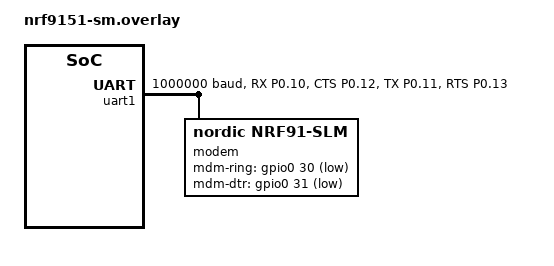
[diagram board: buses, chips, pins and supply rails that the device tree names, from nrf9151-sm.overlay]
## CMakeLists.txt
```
#
# Copyright (c) 2026 Nordic Semiconductor ASA
#
# SPDX-License-Identifier: LicenseRef-Nordic-5-Clause
#

cmake_minimum_required(VERSION 3.20.0)

find_package(Zephyr REQUIRED HINTS $ENV{ZEPHYR_BASE})
project(dect_shell_fullstack)

target_include_directories(app PRIVATE
  src
  src/at
  src/auto_connect
  src/cloud
  src/hostname
  src/native_tls
  src/ping
  src/print
  src/utils
)

target_sources(app PRIVATE
  src/main.c
  src/shell.c
  src/print/print_shell.c
  src/utils/desh_print.c
)

target_sources_ifdef(CONFIG_SAMPLE_DESH_AUTO_CONNECT app PRIVATE
  src/auto_connect/auto_connect.c
  src/auto_connect/auto_connect_shell.c
)
target_sources_ifdef(CONFIG_AT_CMD_CUSTOM app PRIVATE src/at/at_cmd_mode_custom.c)
target_sources_ifdef(CONFIG_SAMPLE_DESH_CLOUD_MQTT app PRIVATE src/cloud/cloud_mqtt_shell.c)
target_sources_ifdef(CONFIG_SAMPLE_DESH_CLOUD_COAP app PRIVATE src/cloud/cloud_coap_shell.c)
target_sources_ifdef(CONFIG_NET_HOSTNAME_DYNAMIC app PRIVATE src/hostname/hostname_shell.c)
target_sources_ifdef(CONFIG_SAMPLE_DESH_NATIVE_TLS app PRIVATE src/native_tls/desh_at_cmng.c)
target_sources_ifdef(CONFIG_SAMPLE_DESH_NATIVE_TLS app PRIVATE src/native_tls/desh_native_tls.c)
target_sources_ifdef(CONFIG_SAMPLE_DESH_DECT_ICMP_PING app PRIVATE src/ping/icmp_ping.c)
target_sources_ifdef(CONFIG_SAMPLE_DESH_DECT_ICMP_PING app PRIVATE src/ping/icmp_ping_shell.c)
target_sources_ifdef(CONFIG_SAMPLE_DESH_MDNS_DNS_SD_ADVERTISE app PRIVATE src/mdns/dns_sd_advertise.c)
target_sources_ifdef(CONFIG_SAMPLE_DESH_MDNS_DISCOVER app PRIVATE src/mdns/dect_discover_shell.c)
```

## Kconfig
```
#
# Copyright (c) 2026 Nordic Semiconductor ASA
#
# SPDX-License-Identifier: LicenseRef-Nordic-5-Clause
#

menu "DECT NR+ Shell config"

config SAMPLE_DESH_PRINT_BUFFER_SIZE
	int "Buffer size used when printing shell output"
	default 1024
	help
	  If the printed string exceeds this buffer, an error message is printed
	  first, and then the requested string is cut into the length of this buffer.

config SAMPLE_DESH_COMMON_WORKQ_STACK_SIZE
	int "Common workqueue stack size"
	default 3072

config SAMPLE_DESH_DECT_ICMP_PING
	bool "ICMP ping support"
	default y
	select DECT_ICMP_PING_LIB
	help
	  ICMPv6 ping through the DECT ICMP ping library (net_icmp). DeSh wires
	  timestamped print functions and the kill signal for abort.

config SAMPLE_DESH_IPERF3
	bool "iPerf3"
	select NRF_IPERF3

config SAMPLE_DESH_CLOUD_MQTT
	bool "MQTT connection to nRF Cloud"
	depends on NRF_CLOUD_MQTT
	help
	  MQTT connection to nRF Cloud.

config SAMPLE_DESH_CLOUD_COAP
	bool "CoAP connection to nRF Cloud"
	depends on NRF_CLOUD_COAP
	help
	  CoAP connection to nRF Cloud.

config SAMPLE_DESH_MDNS_DNS_SD_ADVERTISE
	bool "Advertise _dect-nr._udp using DNS-SD on dect0"
	depends on MDNS_RESPONDER_DNS_SD
	depends on NET_MGMT && NET_MGMT_EVENT
	help
	  Register a DNS-SD service record for _dect-nr._udp so that peers
	  browsing through mDNS see this device. Zephyr's mdns_responder answers
	  PTR/SRV/TXT/AAAA queries using the record; this sample does not run
	  an application-level service on the advertised SRV port, and the
	  TXT record carries "status=not-implemented" to signal that.

if SAMPLE_DESH_MDNS_DNS_SD_ADVERTISE

config SAMPLE_DESH_MDNS_DNS_SD_PORT
	int "DNS-SD service port on dect0"
	default 4700
	range 1 65535
	help
	  UDP port placed in the SRV record advertised for _dect-nr._udp.
	  Reserved for a future application service (info/telemetry/CoAP/...);
	  the sample binds a placeholder UDP socket on this port so DNS-SD SRV
	  records are advertised, but no application-level service is implemented.

endif # SAMPLE_DESH_MDNS_DNS_SD_ADVERTISE

config SAMPLE_DESH_MDNS_DISCOVER
	bool "dect discover shell command"
	depends on MDNS_RESOLVER
	help
	  Discover nearby DECT NR+ devices through mDNS: browses _dect-nr._udp
	  (PTR) to find peer instances and resolves their .local hostnames
	  (AAAA) to list IPv6 addresses.

config SAMPLE_DESH_L2_SHELL
	bool "DECT NR+ Shell for nRF91 Modem MAC"
	default y
	select DECT_L2_SHELL_LIB
	help
	  Enable support for DECT NR+ Net Management interface.
	  This selects the DECT MAC L2 shell library.

menuconfig SAMPLE_DESH_AUTO_CONNECT
	bool "Auto-connect command"
	default y
	help
	  Build the "auto_connect" shell command and its event-driven worker
	  that joins (PT) or creates (FT) the DECT NR+ network automatically
	  once the configured trigger conditions are met. The runtime state is
	  persisted through the Zephyr settings subsystem. Auto-connect is
	  disabled at runtime by default; enable it using the shell or
	  SAMPLE_DESH_AUTO_CONNECT_DEFAULT_ENABLED.

	  Disable to drop both auto_connect.c and auto_connect_shell.c from the
	  build when the sample only needs manual network bring-up.

if SAMPLE_DESH_AUTO_CONNECT

config SAMPLE_DESH_AUTO_CONNECT_DEFAULT_ENABLED
	bool "Enable auto-connect by default"
	help
	  Initial value of the auto-connect setting at first boot, used until
	  the user overrides it using the "auto_connect enable|disable" shell
	  commands. The override is persisted through the Zephyr settings
	  subsystem and wins over this default on subsequent boots.

	  When enabled, the sample joins (PT) or creates (FT) the DECT NR+
	  network automatically once the trigger conditions are met
	  (see SAMPLE_DESH_AUTO_CONNECT_DEFAULT_DELAY_SECS).

config SAMPLE_DESH_AUTO_CONNECT_DEFAULT_DELAY_SECS
	int "Auto-connect delay (seconds)"
	default 0
	range 0 86400
	help
	  Initial auto-connect delay used at first boot, until the user
	  overrides it using "auto_connect delay <seconds>". The override is
	  persisted through the Zephyr settings subsystem and wins over this
	  default on subsequent boots.

	  0 selects the default trigger: when CONFIG_NET_CONNECTION_MANAGER is
	  enabled, auto_connect waits for both NET_EVENT_DECT_ACTIVATE_DONE and
	  NET_EVENT_L4_CONNECTED before firing; otherwise it fires as soon as
	  NET_EVENT_DECT_ACTIVATE_DONE arrives.

	  A non-zero value overrides the default trigger and schedules the
	  auto-connect work that many seconds after NET_EVENT_DECT_ACTIVATE_DONE,
	  independent of L4 connectivity.

endif # SAMPLE_DESH_AUTO_CONNECT

rsource "Kconfig.native_tls"

endmenu # Nordic DECT NR+ Shell config

menu "Zephyr Kernel"
source "Kconfig.zephyr"
endmenu
```

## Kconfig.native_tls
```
#
# Copyright (c) 2026 Nordic Semiconductor ASA
#
# SPDX-License-Identifier: LicenseRef-Nordic-5-Clause

config SAMPLE_DESH_NATIVE_TLS
	bool "Custom ``AT%CMNG`` command to store credentials for native TLS"
	select AT_CMD_CUSTOM
	help
	  Enable the custom ``AT%CMNG`` command to store TLS credentials for native TLS usage.
	  When enabled, you can use the ``AT%CMNG`` command to store TLS credentials
	  (CA certificate, client certificate, private key) in the secure storage or
	  in settings with MQTT/TLS, from where native TLS (Mbed TLS) can load them when
	  establishing a TLS connection.

if SAMPLE_DESH_NATIVE_TLS

config SAMPLE_DESH_NATIVE_TLS_CREDENTIAL_BUFFER_SIZE
	int "Buffer space reserved for loading credentials"
	default 4096
	help
	  Buffer space available for a single ``sec_tag`` when loading credentials for Mbed TLS.

config SAMPLE_DESH_NATIVE_TLS_CREDENTIAL_BUFFER_COUNT
	int "Number of buffers for loading credentials"
	default 1
	range 1 2
	help
	  Number of buffers available for loading ``sec_tag`` credentials for Mbed TLS.
	  The TLS client needs the buffer only when connecting, whereas the TLS server needs
	  the buffer as long as it is running.
	  Increase the value if you need TLS client and server running simultaneously
	  with different ``sec_tags``.

endif
```

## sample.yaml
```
sample:
  name: DECT NR+ Shell Sample
common:
  tags:
    - ci_build
    - sysbuild
    - ci_samples_dect
  sysbuild: true
  build_only: true
  integration_platforms:
    - nrf9151dk/nrf9151/ns
  platform_allow:
    - nrf9151dk/nrf9151/ns
tests:
  sample.dect.dect_shell: {}
  sample.dect.dect_shell.mdns_discover:
    extra_args: EXTRA_CONF_FILE=mdns-common.conf;mdns-discover.conf
  sample.dect.dect_shell.ft_sink:
    extra_args: FILE_SUFFIX=sm
  sample.dect.dect_shell.iperf3_tx:
    extra_args:
      - EXTRA_CONF_FILE="iperf3-common.conf;iperf3-tx.conf"
      - EXTRA_DTC_OVERLAY_FILE="iperf3-tx.overlay"
  sample.dect.dect_shell.iperf3_rx:
    extra_args:
      - EXTRA_CONF_FILE="iperf3-common.conf;iperf3-rx.conf"
      - EXTRA_DTC_OVERLAY_FILE="iperf3-rx.overlay"
  sample.dect.dect_shell.nrf_cloud_mqtt:
    extra_args: EXTRA_CONF_FILE="nrf_cloud_mqtt.conf"
  sample.dect.dect_shell.nrf_cloud_coap:
    extra_args:
      - EXTRA_CONF_FILE="nrf_cloud_coap.conf"
      - DTC_OVERLAY_FILE="nrf_cloud_coap.overlay"
  sample.dect.dect_shell.arceli_eth_w5500:
    extra_args:
      - SHIELD=arceli_eth_w5500
      - EXTRA_CONF_FILE="eth_common.conf;eth_w5500.conf"
      - EXTRA_DTC_OVERLAY_FILE="eth-rx.overlay;w5500-static-mac.overlay"
  sample.dect.dect_shell.arceli_eth_w5500_random_mac:
    extra_args:
      - SHIELD=arceli_eth_w5500
      - EXTRA_CONF_FILE="eth_common.conf;eth_w5500.conf"
      - EXTRA_DTC_OVERLAY_FILE="eth-rx.overlay;w5500.overlay"
  sample.dect.dect_shell.seeed_eth_w5500:
    extra_args:
      - SHIELD=seeed_w5500
      - EXTRA_CONF_FILE="eth_common.conf;eth_w5500.conf;eth_w5500_seeed.conf"
      - EXTRA_DTC_OVERLAY_FILE="eth-rx.overlay;w5500-seeed-static-mac.overlay"
  sample.dect.dect_shell.seeed_eth_w5500_random_mac:
    extra_args:
      - SHIELD=seeed_w5500
      - EXTRA_CONF_FILE="eth_common.conf;eth_w5500.conf;eth_w5500_seeed.conf"
      - EXTRA_DTC_OVERLAY_FILE="eth-rx.overlay;w5500-seeed.overlay"
  sample.dect.dect_shell.arceli_eth_w5500_mdns:
    extra_args:
      - SHIELD=arceli_eth_w5500
      - EXTRA_CONF_FILE="eth_common.conf;eth_w5500.conf;mdns-common.conf;mdns-discover.conf;eth_sink_mdns-discover.conf"
      - EXTRA_DTC_OVERLAY_FILE="eth-rx.overlay;w5500-static-mac.overlay"
  sample.dect.dect_shell.seeed_eth_w5500_mdns:
    extra_args:
      - SHIELD=seeed_w5500
      - EXTRA_CONF_FILE="eth_common.conf;eth_w5500.conf;eth_w5500_seeed.conf;mdns-common.conf;mdns-discover.conf"
      - EXTRA_DTC_OVERLAY_FILE="eth-rx.overlay;w5500-seeed-static-mac.overlay"
  sample.dect.dect_shell.arceli_eth_w5500_dect_rx_pool:
    extra_args:
      - SHIELD=arceli_eth_w5500
      - EXTRA_CONF_FILE="eth_common.conf;eth_w5500.conf;dect_rx_pool.conf;dlc_resilient.conf"
      - EXTRA_DTC_OVERLAY_FILE="eth-rx.overlay;w5500-static-mac.overlay"
  sample.dect.dect_shell.seeed_eth_w5500_dect_rx_pool:
    extra_args:
      - SHIELD=seeed_w5500
      - EXTRA_CONF_FILE="eth_common.conf;eth_w5500.conf;eth_w5500_seeed.conf;dect_rx_pool.conf;dlc_resilient.conf"
      - EXTRA_DTC_OVERLAY_FILE="eth-rx.overlay;w5500-seeed-static-mac.overlay"
```

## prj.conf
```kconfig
# DECT NR+ core
CONFIG_DECT=y

# Modem library
CONFIG_NRF_MODEM_LIB=y
CONFIG_NRF_MODEM_LINK_BINARY_DECT=y
CONFIG_NRF_MODEM_LIB_ON_FAULT_APPLICATION_SPECIFIC=y
CONFIG_NRF_MODEM_LIB_CFUN_HOOKS=n
CONFIG_NRF_MODEM_LIB_TRACE=n

# DECT NR+ driver configuration
CONFIG_DECT_MDM=y
CONFIG_DECT_MDM_DRIVER_NRF=y
CONFIG_DECT_CLUSTER_MAX_CHILD_ASSOCIATION_COUNT=50

# Connection manager auto connect not supported, desh has its own and
# we want net_if_up() done in stack to get cluster_start/nw_create also working
CONFIG_DECT_MDM_NET_IF_NO_AUTO_START=n

# Modem configuration
CONFIG_MODEM_ANTENNA=n
CONFIG_MODEM_ANTENNA_AT_COEX0=""
CONFIG_MODEM_INFO=y
CONFIG_MODEM_INFO_ADD_NETWORK=n
CONFIG_MODEM_INFO_ADD_SIM=n

# Networking core
CONFIG_NETWORKING=y
CONFIG_NET_NATIVE=y
CONFIG_NET_STATISTICS=y
CONFIG_NET_INTERFACE_NAME=y


# Network management
CONFIG_NET_MGMT=y
CONFIG_NET_MGMT_EVENT=y
CONFIG_NET_MGMT_EVENT_INFO=y
CONFIG_NET_MGMT_EVENT_INFO_DEFAULT_DATA_SIZE=208
CONFIG_NET_MGMT_EVENT_STACK_SIZE=2048
CONFIG_NET_MGMT_EVENT_QUEUE_SIZE=20
CONFIG_NET_MGMT_EVENT_QUEUE_TIMEOUT=5000
CONFIG_NET_MGMT_EVENT_LOG_LEVEL_INF=y

# DECT NR+ L2 and connection manager
CONFIG_NET_L2_DECT_MGMT=y
CONFIG_NET_L2_DUMMY=n
CONFIG_NET_CONNECTION_MANAGER=y

# Network sockets
CONFIG_NET_SOCKETS=y
CONFIG_NET_SOCKETS_PACKET=y
CONFIG_NET_SOCKETS_PACKET_DGRAM=y
CONFIG_NET_SOCKETS_OFFLOAD=n
CONFIG_ZVFS_POLL_MAX=10
CONFIG_NET_MAX_CONN=10
CONFIG_NET_CONTEXT_SNDTIMEO=y
CONFIG_NET_CONTEXT_RCVTIMEO=y
CONFIG_NET_TX_STACK_SIZE=2048
CONFIG_NET_RX_STACK_SIZE=2048
CONFIG_NET_SOCKETS_SERVICE_STACK_SIZE=4096

# Network buffers
CONFIG_NET_BUF=y
CONFIG_NET_BUF_DATA_SIZE=128
CONFIG_NET_BUF_POOL_USAGE=y
CONFIG_NET_PKT_RX_COUNT=15
CONFIG_NET_BUF_RX_COUNT=30
CONFIG_NET_PKT_TX_COUNT=15
CONFIG_NET_BUF_TX_COUNT=30
CONFIG_NET_TC_RX_COUNT=0

# IPv6 configuration
CONFIG_NET_IPV4=n
CONFIG_NET_IPV6=y
CONFIG_NET_IP_ADDR_CHECK=n
CONFIG_NET_IPV6_NBR_CACHE=y
CONFIG_NET_IPV6_ND=y
CONFIG_NET_IPV6_MAX_NEIGHBORS=50

# ULA / DECT addressing: default is 2; need room for e.g. link-local + ULA + global per iface.
CONFIG_NET_IF_UNICAST_IPV6_ADDR_COUNT=3

# DNS configuration
CONFIG_DNS_RESOLVER=y
CONFIG_DNS_RESOLVER_AUTO_INIT=y
CONFIG_DNS_RESOLVER_CACHE=y
CONFIG_DNS_SERVER_IP_ADDRESSES=y
CONFIG_DNS_RESOLVER_MAX_SERVERS=2
CONFIG_DNS_SERVER1="2001:4860:4860::8888"
CONFIG_NET_SOCKETS_DNS_TIMEOUT=8000
CONFIG_DNS_SERVER2="2001:4860:4860::8844"
CONFIG_NET_SOCKETS_DNS_TIMEOUT=13000
CONFIG_NET_SOCKETS_DNS_BACKOFF_INTERVAL=4000

# mDNS stack (optional): merge mdns-common.conf; see mdns-discover.conf for discover.

# Hostname configuration
CONFIG_NET_HOSTNAME_ENABLE=y
CONFIG_NET_HOSTNAME="dect-nr+-device"
CONFIG_NET_HOSTNAME_DYNAMIC=y
CONFIG_NET_HOSTNAME_UNIQUE=n

# Disable TLS by default (can be enabled via overlays if needed)
CONFIG_MBEDTLS=n
CONFIG_NET_SOCKETS_SOCKOPT_TLS=n

# Shell configuration
CONFIG_SHELL=y
CONFIG_SHELL_WILDCARD=n
CONFIG_SHELL_PROMPT_UART="desh:~$ "
CONFIG_SHELL_ARGC_MAX=40
CONFIG_SHELL_HELP_OPT_PARSE=n
CONFIG_SHELL_CMD_BUFF_SIZE=4096
CONFIG_SHELL_STACK_SIZE=9216
CONFIG_SHELL_BACKEND_SERIAL_RX_RING_BUFFER_SIZE=512
CONFIG_SHELL_BACKEND_SERIAL_API_INTERRUPT_DRIVEN=y

CONFIG_NET_SHELL=y
CONFIG_NET_STATISTICS_USER_API=y

CONFIG_FPU=y

# Enable use of vsnprintfcb() for extending desh_print() format
CONFIG_CBPRINTF_LIBC_SUBSTS=y

# freebsd-getopt
CONFIG_GETOPT_LONG=y

# DK library
CONFIG_DK_LIBRARY=y

# AT commands
CONFIG_AT_MONITOR=y
CONFIG_AT_PARSER=y
CONFIG_AT_MONITOR_HEAP_SIZE=512

# AT shell
CONFIG_AT_SHELL=y
CONFIG_AT_SHELL_CMD_RESPONSE_MAX_LEN=2701
CONFIG_AT_SHELL_CMD_MODE=y

# Needed by DESH custom AT commands
CONFIG_AT_CMD_CUSTOM=y
CONFIG_AT_CMD_CUSTOM_LOG_LEVEL_OFF=y

# Settings storage
CONFIG_FLASH=y
CONFIG_FLASH_MAP=y
CONFIG_MPU_ALLOW_FLASH_WRITE=y
CONFIG_NVS=y
CONFIG_SETTINGS=y
CONFIG_SETTINGS_NVS=y
CONFIG_NVS_LOG_LEVEL_WRN=y

# Kernel and system settings
CONFIG_MAIN_STACK_SIZE=4096
CONFIG_SYSTEM_WORKQUEUE_STACK_SIZE=3072
CONFIG_ISR_STACK_SIZE=1024
CONFIG_HEAP_MEM_POOL_SIZE=25600
CONFIG_ENTROPY_GENERATOR=y

# TF-M configuration
CONFIG_TFM_PROFILE_TYPE_MINIMAL=y
CONFIG_TFM_SECURE_UART0=y
CONFIG_TFM_LOG_LEVEL_SILENCE=y
CONFIG_TFM_EXCEPTION_INFO_DUMP=y
CONFIG_TFM_SPM_LOG_LEVEL_DEBUG=y

# Logging
CONFIG_LOG=y
CONFIG_SHELL_LOG_BACKEND=y
CONFIG_LOG_BACKEND_UART=n
CONFIG_PRINTK=y
CONFIG_LOG_PRINTK=n
CONFIG_NET_LOG=y

# DECT module log levels
CONFIG_DECT_MDM_LOG_LEVEL_WRN=y
CONFIG_NET_L2_DECT_LOG_LEVEL_WRN=y
CONFIG_NET_L2_DECT_MGMT_LOG_LEVEL_WRN=y
CONFIG_NET_L2_DECT_BR_LOG_LEVEL_INF=y
CONFIG_NET_L2_DECT_CONN_MGR_LOG_LEVEL_INF=y

# Debugging
CONFIG_ASSERT=y
CONFIG_ASSERT_MODULE_DEFAULT_LEVEL_VERBOSE=y
CONFIG_RESET_ON_FATAL_ERROR=n
CONFIG_EXTRA_EXCEPTION_INFO=y
CONFIG_SYS_HEAP_RUNTIME_STATS=y
```

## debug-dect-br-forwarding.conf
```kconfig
# Copyright (c) 2026 Nordic Semiconductor ASA
#
# SPDX-License-Identifier: LicenseRef-Nordic-5-Clause
#
CONFIG_LOG_MODE_IMMEDIATE=y
CONFIG_LOG_BUFFER_SIZE=16384

CONFIG_NET_L2_DECT_LOG_LEVEL_INF=y
CONFIG_NET_L2_DECT_BR_LOG_LEVEL_INF=y
CONFIG_NET_L2_DECT_CONN_MGR_LOG_LEVEL_INF=y
CONFIG_NET_L2_DECT_MGMT_LOG_LEVEL_INF=y

CONFIG_NET_CORE_LOG_LEVEL_INF=y
CONFIG_NET_IF_LOG_LEVEL_INF=y
CONFIG_NET_IPV6_ROUTE_LOG_LEVEL_DBG=y
CONFIG_NET_IPV6_LOG_LEVEL_INF=y
CONFIG_NET_IPV6_ND_LOG_LEVEL_DBG=y
CONFIG_NET_IPV6_NBR_CACHE_LOG_LEVEL_INF=y
CONFIG_NET_L2_ETHERNET_LOG_LEVEL_INF=y
CONFIG_ETHERNET_LOG_LEVEL_INF=y

CONFIG_NET_CONNECTION_MANAGER_LOG_LEVEL_INF=y
CONFIG_NET_MGMT_EVENT_LOG_LEVEL_INF=y
```

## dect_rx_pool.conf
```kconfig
# Copyright (c) 2026 Nordic Semiconductor ASA
# SPDX-License-Identifier: LicenseRef-Nordic-5-Clause
#
# DECT-private RX net_pkt/net_buf pool for dect_shell (sink / FT).
#
# Append last in EXTRA_CONF_FILE, e.g.
#   eth_common.conf;eth_w5500.conf;dect_rx_pool.conf
#
# Why: this sample acts as the sink/FT — DECT RX is the hot path (uplinks
# from many child PTs, plus downlink ACKs). Without isolation, eth0 RX
# bursts allocate from the global RX pools (CONFIG_NET_PKT_RX_COUNT /
# CONFIG_NET_BUF_RX_COUNT) and can starve DECT RX, producing "RX drop:
# packet alloc failed in ISR" cascades. With this overlay, DECT RX uses
# its own slab + buf pool isolated from eth0.
#
# Sized for DECT-RX-prioritized role (matches modem SHMEM RX-heavy split
# in eth_common.conf): generous PKT/BUF counts.
#
# Tune _PKT_COUNT / _BUF_COUNT / _BUF_SIZE if "dect_mdm rx_pool" shows
# MaxUsed == Total under load.
#
# Runtime inspection:
#   desh:~$ dect_mdm rx_pool

CONFIG_DECT_MDM_RX_PRIVATE_POOL=y

# DECT RX prioritized: many concurrent uplinks + downlink ACKs.
CONFIG_DECT_MDM_RX_PRIVATE_PKT_COUNT=30
CONFIG_DECT_MDM_RX_PRIVATE_BUF_COUNT=150
CONFIG_DECT_MDM_RX_PRIVATE_BUF_SIZE=128

# RX pipeline queues (event slab + msgq) sized to PRIVATE_PKT_COUNT + small
# headroom (default 100 is ~3 KB of slack).
CONFIG_DECT_MDM_NRF_RX_EVENT_POOL_COUNT=40
CONFIG_DECT_MDM_NRF_RX_MSGQ_SIZE=40

# Visibility for the "dect_mdm rx_pool" shell:
CONFIG_NET_BUF_POOL_USAGE=y
CONFIG_MEM_SLAB_TRACE_MAX_UTILIZATION=y

# Now that we got own pool for dect RX, we can decrease net mem as much as possible
CONFIG_NET_PKT_RX_COUNT=20
CONFIG_NET_BUF_RX_COUNT=60
```

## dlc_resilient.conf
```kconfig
# Copyright (c) 2026 Nordic Semiconductor ASA
# SPDX-License-Identifier: LicenseRef-Nordic-5-Clause
#
# Loss-resilient DLC profile for dect_shell (FT / sink side).
#
# Append last in EXTRA_CONF_FILE, e.g.:
#   eth_common.conf;eth_w5500.conf;dect_rx_pool.conf;dlc_resilient.conf
#
# Why: the stock DLC defaults (60 s lifetime, release on first discard)
# don't suit a tether/sink deployment. Applied to the FT's
# default_tx_flow_config[0] (FT->PT return path):
#
#   * SDU lifetime = 2.5 s (NRF_MODEM_DECT_DLC_SDU_LIFETIME_2_5_S = 23):
#     slightly more tolerant than the PT side's 1.5 s, since a dropped
#     return-path ACK forces TCP to retransmit on the already-loaded
#     uplink. Lower for latency-sensitive workloads instead.
#
#   * discard_release_assoc_count = 20: release a stuck PT only after
#     20 consecutive DLC_DISCARD_TIMER_EXPIRED responses (counter resets
#     on successful TX); ~50 s worst case at the lifetime above. 0 = never
#     release. The two sides do NOT need matching values.
#
# Both are runtime-tunable via the DECT L2 shell:
#   desh:~$ dect sett --dlc_sdu_lifetime 23
#   desh:~$ dect sett --dlc_discard_release_assoc_count 20
#   desh:~$ dect sett --read
#
# Valid sdu_lifetime: 1..31 (0.5 ms..60 s) or 255 for INFINITY.

CONFIG_DECT_MDM_NRF_DLC_SDU_LIFETIME=23
CONFIG_DECT_MDM_NRF_DLC_DISCARD_TIMER_RELEASE_ASSOC_COUNT=20
```

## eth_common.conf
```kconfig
# Copyright (c) 2026 Nordic Semiconductor ASA
#
# SPDX-License-Identifier: LicenseRef-Nordic-5-Clause
#
# Shared Kconfig for DECT shell Ethernet sink builds (link_board_eth and Arceli W5500).
#
# EXTRA_CONF_FILE merge order (omit mDNS layers when not needed):
#   eth_common.conf -> eth_w5500.conf ->
#   mdns-common.conf -> mdns-discover.conf -> eth_sink_mdns-discover.conf -> optional extras
#
# From the sample directory (Ethernet only, no mDNS):
#   cd nrf/samples/dect/dect_shell
#   west build -p -b nrf9151dk/nrf9151/ns --
#     -DSHIELD=seeed_w5500
#     -DEXTRA_CONF_FILE="eth_common.conf;eth_w5500.conf"
#     -DEXTRA_DTC_OVERLAY_FILE="eth-rx.overlay;w5500-seeed-static-mac.overlay"
#
CONFIG_THREAD_ANALYZER=y

# Usually these overlays are used when acting as FT/sink
CONFIG_DECT_DEFAULT_DEV_TYPE_FT=y
CONFIG_NET_HOSTNAME="dect-eth-sink"
CONFIG_SAMPLE_DESH_AUTO_CONNECT_DEFAULT_ENABLED=y

CONFIG_NET_L2_DECT_BR_IPV6_ETH_UPSTREAM_PREFIX_ROUTE=y
CONFIG_SPI=y

CONFIG_ETH_DRIVER=y

CONFIG_NET_L2_ETHERNET=y
CONFIG_NET_L2_ETHERNET_MGMT=y

CONFIG_NET_L2_DECT_MTU=1500

CONFIG_NET_IPV6_FORWARDING=y
CONFIG_NET_L2_DECT_BR_IPV6_ETH_ND_PROXY_PT_NS_UNICAST_INTERCEPT=y

CONFIG_NET_PKT_TX_COUNT=10
CONFIG_NET_BUF_TX_COUNT=20

CONFIG_NET_PKT_RX_COUNT=30
CONFIG_NET_BUF_RX_COUNT=120

CONFIG_NET_STATISTICS_PKT_FILTER=n

# DECT + sink Ethernet: more IPv6 interfaces, addresses, and prefixes than defaults
CONFIG_NET_IF_MAX_IPV6_COUNT=2
CONFIG_NET_IF_UNICAST_IPV6_ADDR_COUNT=3
CONFIG_NET_IF_IPV6_PREFIX_COUNT=3

# Decrease neighbor count from desh defaults to have memory for other things
CONFIG_DECT_CLUSTER_MAX_CHILD_ASSOCIATION_COUNT=20
CONFIG_NET_IPV6_MAX_NEIGHBORS=20

# Extra multicast groups on behalf of DECT NR+ PT devices
CONFIG_NET_IF_MCAST_IPV6_ADDR_COUNT=20

# Disable DK library to avoid button/Arduino pin conflicts with shields
CONFIG_DK_LIBRARY=n

# Unicast DNS on upstream Ethernet (eth0). For sink ``dect discover``, merge
# mdns-discover.conf and eth_sink_mdns-discover.conf.
CONFIG_DNS_RESOLVER_MAX_SERVERS=2
CONFIG_DNS_SERVER1="2001:4860:4860::8888%eth0"
CONFIG_DNS_SERVER2="2001:4860:4860::8844%eth0"

CONFIG_NET_L2_DECT_LOG_LEVEL_INF=y
CONFIG_LOG_CMDS=y
CONFIG_NET_DEBUG_NET_PKT_ALLOC=y
```

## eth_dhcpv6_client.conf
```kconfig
# Copyright (c) 2026 Nordic Semiconductor ASA
#
# SPDX-License-Identifier: LicenseRef-Nordic-5-Clause
#
# Optional overlay enabling DHCPv6 client on the Ethernet interface for the
# DECT shell FT/sink build.

CONFIG_NET_DHCPV6=y
CONFIG_NET_DHCPV6_LOG_LEVEL_DBG=y
```

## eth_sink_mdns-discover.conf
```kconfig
# Copyright (c) 2026 Nordic Semiconductor ASA
#
# SPDX-License-Identifier: LicenseRef-Nordic-5-Clause
#
# Dual-homed Ethernet sink: mDNS *resolver* on dect0 for ``dect discover``.
# Merge only when the sink itself needs to run ``dect discover`` (not needed
# for advertise-only sinks where the PT discovers the sink).
#
# Required merge order:
#   eth_common.conf -> eth_*.conf -> mdns-common.conf -> mdns-discover.conf ->
#   eth_sink_mdns-discover.conf

# Scoped mDNS resolver on dect0 (unicast Google DNS stay on eth0 in eth_common.conf).
# Order matters: unicast resolvers first, then scoped mDNS — otherwise ordinary names
# hit the mDNS slot first. If .local fails: CONFIG_DNS_RESOLVER_LOG_LEVEL_DBG=y.
CONFIG_DNS_RESOLVER_MAX_SERVERS=3
CONFIG_DNS_SERVER3="[ff02::fb]:5353%dect0"

# Dual-iface mDNS responder + three DNS resolver contexts need more sockets than default.
CONFIG_NET_MAX_CONTEXTS=12

# mdns-common.conf sets CONFIG_ZVFS_POLL_MAX=10; dect0 + eth0 and three scoped DNS
# servers need more dispatcher poll slots or dns_resolve_init returns -EAGAIN.
CONFIG_ZVFS_POLL_MAX=16
```

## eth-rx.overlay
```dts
/*
 * Copyright (c) 2026 Nordic Semiconductor ASA
 *
 * SPDX-License-Identifier: LicenseRef-Nordic-5-Clause
 */

/* Larger RX buffer for DECT uplink (PT TX -> FT RX) to Ethernet sink.
 * Matches eth_common.conf:
 *   CONFIG_NRF_MODEM_LIB_SHMEM_TX_SIZE=12288  (0x3000)
 *   CONFIG_NRF_MODEM_LIB_SHMEM_RX_SIZE=30720  (0x7800)
 *
 * Layers on boards/nrf9151dk_nrf9151_ns.overlay (32 kB secure RAM and flash
 * partitions come from there). Pass with a shield MAC overlay, e.g.:
 *   -DEXTRA_DTC_OVERLAY_FILE="eth-rx.overlay;w5500-static-mac.overlay"
 */

/delete-node/ &sram0_s;
/delete-node/ &sram0_ns;

&sram0 {
	/*
	 * 0x2000_0000  Secure RAM                      (   32 kB)
	 * 0x2000_8000  Non-secure RAM area             (  224 kB)
	 *   0x2000_8000  Modem shared area             ( 44840 B)
	 *     0x2000_8000  control                     (  1832 B)
	 *     0x2000_8728  app -> cell                 (   12 kB)
	 *     0x2000_b728  cell -> app                 (   30 kB)
	 *   0x2000_cf28  Application RAM               (184536 B)
	 */
	sram0_s: sram@0 {
		reg = <0x0 0x8000>;
	};

	sram0_ns: sram@8000 {
		reg = <0x8000 0x38000>;
		#address-cells = <1>;
		#size-cells = <1>;
		ranges = <0x0 0x8000 0x38000>;

		/* Must be in first 128 kB of RAM. */
		sram0_ns_modem: sram0_ns@0 {
			/* Modem (shared) memory */
			reg = <0x0 0xaf28>;
			#address-cells = <1>;
			#size-cells = <1>;
			ranges = <0x0 0x0 0xaf28>;

			cpuapp_cpucell_ipc_shm_ctrl: sram0_ns_modem@0 {
				/* Modem IPC control */
				reg = <0x0 0x728>;
			};

			cpuapp_cpucell_ipc_shm_heap: sram0_ns_modem@728 {
				/* Modem IPC transmit */
				reg = <0x728 0x3000>;
			};

			cpucell_cpuapp_ipc_shm_heap: sram0_ns_modem@3728 {
				/* Modem IPC receive */
				reg = <0x3728 0x7800>;
			};
		};

		sram0_ns_app: sram0_ns@af28 {
			/* Non-Secure application memory */
			reg = <0xaf28 0x2d0d8>;
		};
	};
};
```

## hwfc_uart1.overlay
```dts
/*
 * Copyright (c) 2026 Nordic Semiconductor ASA
 *
 * SPDX-License-Identifier: LicenseRef-Nordic-5-Clause
 */
&uart1 {
	hw-flow-control;
};
```

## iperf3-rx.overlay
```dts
/*
 * Copyright (c) 2026 Nordic Semiconductor ASA
 *
 * SPDX-License-Identifier: LicenseRef-Nordic-5-Clause
 */

/* larger RX buffer for reception */

/delete-node/ &sram0_ns_modem;
/delete-node/ &sram0_ns_app;

&sram0_ns {
	sram0_ns_modem: sram0_ns@0 {
		/* Modem (shared) memory */
		reg = <0x0 0x9f28>;
		#address-cells = <1>;
		#size-cells = <1>;
		ranges = <0x0 0x0 0x9f28>;

		cpuapp_cpucell_ipc_shm_ctrl: sram0_ns_modem@0 {
			/* Modem IPC control */
			reg = <0x0 0x728>;
		};

		cpuapp_cpucell_ipc_shm_heap: sram0_ns_modem@728 {
			/* Modem IPC transmit */
			reg = <0x728 0x1800>;
		};

		cpucell_cpuapp_ipc_shm_heap: sram0_ns_modem@1f28 {
			/* Modem IPC receive */
			reg = <0x1f28 0x8000>;
		};
	};

	sram0_ns_app: sram0_ns@9f28 {
		/* Non-Secure application memory */
		reg = <0x9f28 0x2e0d8>;
	};
};
```

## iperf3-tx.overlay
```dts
/*
 * Copyright (c) 2026 Nordic Semiconductor ASA
 *
 * SPDX-License-Identifier: LicenseRef-Nordic-5-Clause
 */

/* larger TX buffer for reception */

/delete-node/ &sram0_ns_modem;
/delete-node/ &sram0_ns_app;

&sram0_ns {
	sram0_ns_modem: sram0_ns@0 {
		/* Modem (shared) memory */
		reg = <0x0 0x9f28>;
		#address-cells = <1>;
		#size-cells = <1>;
		ranges = <0x0 0x0 0x9f28>;

		cpuapp_cpucell_ipc_shm_ctrl: sram0_ns_modem@0 {
			/* Modem IPC control */
			reg = <0x0 0x728>;
		};

		cpuapp_cpucell_ipc_shm_heap: sram0_ns_modem@728 {
			/* Modem IPC transmit */
			reg = <0x728 0x8000>;
		};

		cpucell_cpuapp_ipc_shm_heap: sram0_ns_modem@1f28 {
			/* Modem IPC receive */
			reg = <0x8728 0x1800>;
		};
	};

	sram0_ns_app: sram0_ns@9f28 {
		/* Non-Secure application memory */
		reg = <0x9f28 0x2e0d8>;
	};
};
```

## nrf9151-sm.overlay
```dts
/*
 * Copyright (c) 2026 Nordic Semiconductor ASA
 *
 * SPDX-License-Identifier: LicenseRef-Nordic-5-Clause
 */
/ {
	aliases {
		modem = &modem;
	};
};

&uart1 {
	compatible = "nordic,nrf-uarte";
	current-speed = <1000000>;
	hw-flow-control;
	status = "okay";

	pinctrl-0 = <&uart1_default_alt>;
	pinctrl-1 = <&uart1_sleep_alt>;
	pinctrl-names = "default", "sleep";

	modem: modem {
		compatible = "nordic,nrf91-slm";
		status = "okay";
		mdm-ring-gpios = <&gpio0 30 (GPIO_ACTIVE_LOW | GPIO_PULL_UP)>;
		mdm-dtr-gpios = <&gpio0 31 GPIO_ACTIVE_LOW>;
		zephyr,pm-device-runtime-auto;
		cmux-enable-runtime-power-save;
		cmux-close-pipe-on-power-save;
		cmux-idle-timeout-ms = <5000>;
	};
};

&pinctrl {
	uart1_default_alt: uart1_default_alt {
		group1 {
			psels = <NRF_PSEL(UART_RX, 0, 10)>,
				<NRF_PSEL(UART_CTS, 0, 12)>;
			bias-pull-up;
		};

		group2 {
			psels = <NRF_PSEL(UART_TX, 0, 11)>,
				<NRF_PSEL(UART_RTS, 0, 13)>;
		};
	};

	uart1_sleep_alt: uart1_sleep_alt {
		group1 {
			psels = <NRF_PSEL(UART_RX, 0, 10)>,
				<NRF_PSEL(UART_TX, 0, 11)>,
				<NRF_PSEL(UART_CTS, 0, 12)>,
				<NRF_PSEL(UART_RTS, 0, 13)>;
			low-power-enable;
		};
	};
};

/* Just for sure to disable as these are in 30/31 pins where pwr pin is */
arduino_i2c: &i2c2 {
	status = "disabled";
};
```

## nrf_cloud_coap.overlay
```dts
/*
 * Copyright (c) 2026 Nordic Semiconductor ASA
 *
 * SPDX-License-Identifier: LicenseRef-Nordic-5-Clause
 */

#include <samples/cellular/nrf91_crypto_partitions.dtsi>

/delete-node/ &sram0_s;
/delete-node/ &sram0_ns;

&sram0 {
	/*
	 * 0x2000_0000  Secure RAM                      (   56 kB)
	 * 0x2000_e000  Non-secure RAM area             (  200 kB)
	 *   0x2000_e000  Modem shared area             ( 20354 B)
	 *     0x2000_e000  control                     (  1832 B)
	 *     0x2000_e728  app -> cell                 (   12 kB)
	 *     0x2001_1728  cell -> app                 (    6 kB)
	 *   0x2001_2f28  Application RAM               (184536 B)
	 */
	sram0_s: sram@0 {
		reg = <0x0 0xe000>;
	};

	sram0_ns: sram@e000 {
		reg = <0xe000 0x32000>;
		#address-cells = <1>;
		#size-cells = <1>;
		ranges = <0x0 0xe000 0x32000>;

		/* Must be in first 128 kB of RAM. */
		sram0_ns_modem: sram0_ns@0 {
			/* Modem (shared) memory */
			reg = <0x0 0x4f28>;
			#address-cells = <1>;
			#size-cells = <1>;
			ranges = <0x0 0x0 0x4f28>;

			cpuapp_cpucell_ipc_shm_ctrl: sram0_ns_modem@0 {
				/* Modem IPC control */
				reg = <0x0 0x728>;
			};

			cpuapp_cpucell_ipc_shm_heap: sram0_ns_modem@728 {
				/* Modem IPC transmit */
				reg = <0x728 0x3000>;
			};

			cpucell_cpuapp_ipc_shm_heap: sram0_ns_modem@3728 {
				/* Modem IPC receive */
				reg = <0x3728 0x1800>;
			};
		};

		sram0_ns_app: sram0_ns@4f28 {
			/* Non-Secure application memory */
			reg = <0x4f28 0x2d0d8>;
		};
	};
};
```

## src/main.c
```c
/*
 * Copyright (c) 2026 Nordic Semiconductor ASA
 *
 * SPDX-License-Identifier: LicenseRef-Nordic-5-Clause
 */

#include <stdio.h>
#include <string.h>

#include <zephyr/kernel.h>
#include <zephyr/init.h>
#include <helpers/nrfx_reset_reason.h>
#include <nrf_modem.h>

#include <sys/types.h>
#include <zephyr/logging/log_ctrl.h>
#include <zephyr/sys/reboot.h>
#include <zephyr/dfu/mcuboot.h>

#include <zephyr/shell/shell.h>
#include <zephyr/shell/shell_uart.h>

#include <modem/nrf_modem_lib.h>
#include <modem/nrf_modem_lib_trace.h>

#include <dk_buttons_and_leds.h>

#if defined(CONFIG_AT_SHELL)
#include <modem/at_shell.h>
#endif

#include "desh_defines.h"
#include "desh_print.h"
#include <net/dect/dect_net_l2_shell_util.h>
#if defined(CONFIG_DECT_ICMP_PING_LIB)
#include <net/dect/dect_icmp_ping.h>
#endif
#include <stdarg.h>

BUILD_ASSERT(IS_ENABLED(CONFIG_SHELL_BACKEND_SERIAL),
	     "CONFIG_SHELL_BACKEND_SERIAL shell backend must be enabled");

/* Global variables */
const struct shell *desh_shell;
struct k_poll_signal desh_signal;

#define DESH_COMMON_WORKQUEUE_STACK_SIZE CONFIG_SAMPLE_DESH_COMMON_WORKQ_STACK_SIZE
#define DESH_COMMON_WORKQ_PRIORITY	 5
K_THREAD_STACK_DEFINE(desh_common_workq_stack, DESH_COMMON_WORKQUEUE_STACK_SIZE);
struct k_work_q desh_common_work_q;

static const char *modem_crash_reason_get(uint32_t reason)
{
	switch (reason) {
	case NRF_MODEM_FAULT_UNDEFINED:
		return "Undefined fault";

	case NRF_MODEM_FAULT_HW_WD_RESET:
		return "HW WD reset";

	case NRF_MODEM_FAULT_HARDFAULT:
		return "Hard fault";

	case NRF_MODEM_FAULT_MEM_MANAGE:
		return "Memory management fault";

	case NRF_MODEM_FAULT_BUS:
		return "Bus fault";

	case NRF_MODEM_FAULT_USAGE:
		return "Usage fault";

	case NRF_MODEM_FAULT_SECURE_RESET:
		return "Secure control reset";

	case NRF_MODEM_FAULT_PANIC_DOUBLE:
		return "Error handler crash";

	case NRF_MODEM_FAULT_PANIC_RESET_LOOP:
		return "Reset loop";

	case NRF_MODEM_FAULT_ASSERT:
		return "Assert";

	case NRF_MODEM_FAULT_PANIC:
		return "Unconditional SW reset";

	case NRF_MODEM_FAULT_FLASH_ERASE:
		return "Flash erase fault";

	case NRF_MODEM_FAULT_FLASH_WRITE:
		return "Flash write fault";

	case NRF_MODEM_FAULT_POFWARN:
		return "Undervoltage fault";

	case NRF_MODEM_FAULT_THWARN:
		return "Overtemperature fault";

	default:
		return "Unknown reason";
	}
}

void nrf_modem_fault_handler(struct nrf_modem_fault_info *fault_info)
{
	printk("Modem crash reason: 0x%x (%s), PC: 0x%x\n", fault_info->reason,
	       modem_crash_reason_get(fault_info->reason), fault_info->program_counter);

	__ASSERT(false, "Modem crash detected, halting application execution");
}

static void reset_reason_str_get(char *str, uint32_t reason)
{
	size_t len;

	*str = '\0';

	if (reason & NRFX_RESET_REASON_RESETPIN_MASK) {
		(void)strcat(str, "PIN reset | ");
	}
	if (reason & NRFX_RESET_REASON_DOG_MASK) {
		(void)strcat(str, "watchdog | ");
	}
	if (reason & NRFX_RESET_REASON_OFF_MASK) {
		(void)strcat(str, "wakeup from power-off | ");
	}
	if (reason & NRFX_RESET_REASON_DIF_MASK) {
		(void)strcat(str, "debug interface wakeup | ");
	}
	if (reason & NRFX_RESET_REASON_SREQ_MASK) {
		(void)strcat(str, "software | ");
	}
	if (reason & NRFX_RESET_REASON_LOCKUP_MASK) {
		(void)strcat(str, "CPU lockup | ");
	}
	if (reason & NRFX_RESET_REASON_CTRLAP_MASK) {
		(void)strcat(str, "control access port | ");
	}

	len = strlen(str);
	if (len == 0) {
		(void)strcpy(str, "power-on reset");
	} else {
		str[len - 3] = '\0';
	}
}

static void desh_print_reset_reason(void)
{
	uint32_t reset_reason;
	char reset_reason_str[128];

	/* Read RESETREAS register value and clear current reset reason(s). */
	reset_reason = nrfx_reset_reason_get();
	nrfx_reset_reason_clear(reset_reason);

	reset_reason_str_get(reset_reason_str, reset_reason);

	printk("\nReset reason: %s\n", reset_reason_str);
}

#if defined(CONFIG_DK_LIBRARY)
static void button_handler(uint32_t button_states, uint32_t has_changed)
{
	if (has_changed & button_states & DK_BTN1_MSK) {
		desh_print("Button 1 pressed - raising a kill signal");
		k_poll_signal_raise(&desh_signal, DESH_SIGNAL_KILL);
	} else if (has_changed & ~button_states & DK_BTN1_MSK) {
		desh_print("Button 1 released - resetting a kill signal");
		k_poll_signal_reset(&desh_signal);
	}
}
#endif

/* Wrapper functions to adapt desh_print to shell_print signature */
static void dect_l2_shell_print_wrapper(const struct shell *shell, const char *fmt, ...)
{
	va_list args;

	va_start(args, fmt);
	desh_fprintf_valist(DESH_PRINT_LEVEL_PRINT, fmt, args);
	va_end(args);
}

static void dect_l2_shell_error_wrapper(const struct shell *shell, const char *fmt, ...)
{
	va_list args;

	va_start(args, fmt);
	desh_fprintf_valist(DESH_PRINT_LEVEL_ERROR, fmt, args);
	va_end(args);
}

static void dect_l2_shell_warn_wrapper(const struct shell *shell, const char *fmt, ...)
{
	va_list args;

	va_start(args, fmt);
	desh_fprintf_valist(DESH_PRINT_LEVEL_WARN, fmt, args);
	va_end(args);
}

int main(void)
{
	int err;
	struct k_work_queue_config cfg = {
		.name = "desh_common_workq",
	};

	desh_shell = shell_backend_uart_get_ptr();

	__ASSERT(desh_shell != NULL, "Failed to get shell backend");

	/* Initialize l2_shell library with custom print functions for timestamping */
	struct dect_net_lib_shell_print_fns print_fns = {
		.print_fn = dect_l2_shell_print_wrapper,
		.error_fn = dect_l2_shell_error_wrapper,
		.warn_fn = dect_l2_shell_warn_wrapper,
	};

	dect_net_l2_shell_init(&print_fns);

#if defined(CONFIG_DECT_ICMP_PING_LIB)
	dect_icmp_ping_init(&print_fns);
#endif

	/* Reset reason can only be read once, because the register needs to be cleared after
	 * reading.
	 */
	desh_print_reset_reason();

	k_work_queue_start(&desh_common_work_q, desh_common_workq_stack,
			   K_THREAD_STACK_SIZEOF(desh_common_workq_stack),
			   DESH_COMMON_WORKQ_PRIORITY, &cfg);

#if defined(CONFIG_AT_SHELL)
	/* Initialize AT shell (optional work queue for cmd mode). */
	struct at_shell_config at_cfg = {
		.at_cmd_mode_work_q = &desh_common_work_q,
	};
	(void)at_shell_init(&at_cfg);
#endif

	err = nrf_modem_lib_init();
	if (err) {
		/* Modem library initialization failed. */
		printk("Could not initialize nrf_modem_lib, err %d\n", err);
		printk("Fatal error\n");
		return 0;
	}

#if defined(CONFIG_DK_LIBRARY)
	err = dk_buttons_init(button_handler);
	if (err) {
		printk("Failed to initialize DK buttons library, error: %d\n", err);
	}
	err = dk_leds_init();
	if (err) {
		printk("Cannot initialize LEDs (err: %d)\n", err);
	}
#endif
	k_poll_signal_init(&desh_signal);

#if defined(CONFIG_DECT_ICMP_PING_LIB)
	dect_icmp_ping_set_abort_signal(&desh_signal);
#endif

	/* Resize terminal width and height of the shell to have proper command editing. */
	shell_execute_cmd(desh_shell, "resize");

	return 0;
}
```

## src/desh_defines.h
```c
/*
 * Copyright (c) 2026 Nordic Semiconductor ASA
 *
 * SPDX-License-Identifier: LicenseRef-Nordic-5-Clause
 */

#ifndef DESH_DEFINES_H
#define DESH_DEFINES_H

#define DESH_EMPTY_STRING "\0"

#define DESH_STRING_NULL_CHECK(string) \
	((string != NULL) ? string : DESH_EMPTY_STRING)

#define DESH_AT_CMD_RESPONSE_MAX_LEN 2701

enum desh_signals {
	DESH_SIGNAL_KILL,
};
#endif /* DESH_DEFINES_H */
```

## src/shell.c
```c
/*
 * Copyright (c) 2026 Nordic Semiconductor ASA
 *
 * SPDX-License-Identifier: LicenseRef-Nordic-5-Clause
 */

#include <stdlib.h>
#include <malloc.h>

#include <zephyr/kernel.h>
#include <zephyr/device.h>
#include <zephyr/sys/sys_heap.h>
#include <zephyr/linker/linker-defs.h>
#include <zephyr/shell/shell.h>
#include <modem/nrf_modem_lib.h>

#include "desh_print.h"

#if defined(CONFIG_SAMPLE_DESH_IPERF3)
#include <zephyr/posix/sys/select.h>
#include <iperf_api.h>
#endif

extern struct k_poll_signal desh_signal;

#if defined(CONFIG_SYS_HEAP_RUNTIME_STATS)
extern struct sys_heap _system_heap;
#endif

int sleep_shell(const struct shell *shell, size_t argc, char **argv)
{
	long sleep_duration = strtol(argv[1], NULL, 10);

	if (sleep_duration > 0) {
		k_sleep(K_SECONDS(sleep_duration));
		return 0;
	}
	desh_print("sleep: duration must be greater than zero");

	return -EINVAL;
}

#if defined(CONFIG_SYS_HEAP_RUNTIME_STATS)
extern struct sys_heap _system_heap;

int heap_shell(const struct shell *shell, size_t argc, char **argv)
{
	int err;
	struct sys_memory_stats kernel_stats;

	err = sys_heap_runtime_stats_get(&_system_heap, &kernel_stats);
	if (err) {
		desh_error("heap: failed to read kernel heap statistics, error: %d", err);
	} else {
		desh_print("kernel heap statistics:");
		desh_print("free:           %6d", kernel_stats.free_bytes);
		desh_print("allocated:      %6d", kernel_stats.allocated_bytes);
		desh_print("max. allocated: %6d\n", kernel_stats.max_allocated_bytes);
	}

	return 0;
}
#endif /* CONFIG_SYS_HEAP_RUNTIME_STATS */

int version_shell(const struct shell *shell, size_t argc, char **argv)
{
	desh_print_version_info();

	return 0;
}

#if defined(CONFIG_SAMPLE_DESH_IPERF3)
static int cmd_iperf3(const struct shell *shell, size_t argc, char **argv)
{
	(void)iperf_main(argc, argv, NULL, 0, &desh_signal);
	return 0;
}
#endif
SHELL_CMD_ARG_REGISTER(sleep, NULL, "Sleep for n seconds.", sleep_shell, 2, 0);

#if defined(CONFIG_SYS_HEAP_RUNTIME_STATS)
SHELL_CMD_ARG_REGISTER(heap, NULL, "Print heap usage statistics.", heap_shell, 1, 0);
#endif

SHELL_CMD_ARG_REGISTER(version, NULL, "Print application version information.", version_shell, 1,
		       0);

#if defined(CONFIG_SAMPLE_DESH_IPERF3)
SHELL_CMD_REGISTER(iperf3, NULL, "For iperf3 usage, just type \"iperf3 --manual\"", cmd_iperf3);
#endif
```
